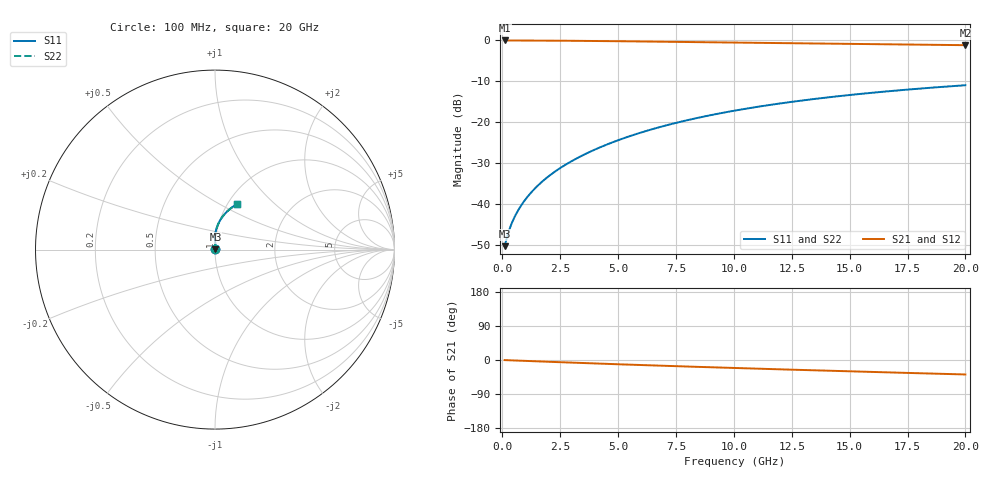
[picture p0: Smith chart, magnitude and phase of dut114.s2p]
! Touchstone file exported from HFSS 2024.1.0
!  File:  C:/UserFiles/LocalFiles/RDL_TSV_Batchsim/temp_RDL_bottom_114_1778695820.aedt
!  Generated:  02:12:34 AM May 14, 2026
!  Design:  RDL_bottom
!  Project:  temp_RDL_bottom_114_1778695820
!  Setup:  Setup1
!  Solution:  Sweep
! Variables:
!  dtsv = 10.80580581um
!  hbump = 3um
!  htsv = 86.73um
!  ldown = 575.56um
!  lrdl = 100um
!  p = 40
!  p1 = 47.87um
!  rhole = 1um
!  t = 450um
!  tdown = 2.98um
!  trdl = 3.915915916um
!  wdown = 28.14um
!  wrdl = 20um
# GHz S MA R 50.000000
! Terminal data exported
! Port[1] = RDL1_T1
! Port[2] = RDL1_T2
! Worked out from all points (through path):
!   200 points, 100 MHz to 20 GHz, reference 50 ohm
!   highest |S21| = -0.02 dB at 100 MHz (marker M1); lowest = -1.2 dB at 20 GHz (marker M2)
!   group delay of S21, straight-line fit = 5.23 ps
!   lowest |S11| = -50.4 dB at 100 MHz (marker M3), VSWR 1.01, Z = 50.3 + j0.133 ohm
!   |S11| at or under -10 dB: start of sweep to end of sweep
!   |S22| runs from -50.4 to -11.0 dB; largest |S21 - S12| = 2.6e-15
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0.1  0.003028 25.9  0.9973 -0.3  0.9973 -0.3  0.003028 25.9
! Gamma 0 0 0 0
! Port Impedance 50 0 50 0
0.2  0.003856 41.4  0.9971 -0.5  0.9971 -0.5  0.003856 41.4
0.3  0.004784 50.1  0.9968 -0.7  0.9968 -0.7  0.004784 50.1
0.4  0.005707 55.8  0.9966 -1.0  0.9966 -1.0  0.005707 55.8
0.5  0.006619 60.1  0.9963 -1.2  0.9963 -1.2  0.006619 60.1
0.6  0.007531 63.6  0.9961 -1.4  0.9961 -1.4  0.007531 63.6
0.8  0.009388 69.0  0.9957 -1.9  0.9957 -1.9  0.009388 69.0
1.2  0.01328 76.1  0.9949 -2.8  0.9949 -2.8  0.01328 76.0
1.7  0.01845 81.3  0.9935 -4.0  0.9935 -4.0  0.01845 81.3
2.2  0.02393 84.6  0.9917 -5.1  0.9917 -5.1  0.02392 84.6
2.8  0.03089 87.2  0.9891 -6.5  0.9891 -6.5  0.03088 87.1
3.5  0.03955 89.0  0.9854 -8.0  0.9854 -8.0  0.03954 88.9
4.2  0.04877 89.9  0.9813 -9.6  0.9813 -9.6  0.04874 89.8
5  0.05992 90.2  0.9761 -11.3  0.9761 -11.3  0.05987 90.1
5.9  0.07311 89.8  0.9699 -13.1  0.9699 -13.1  0.07304 89.7
6.8  0.08683 89.0  0.9634 -14.9  0.9634 -14.9  0.08673 88.9
8.4  0.112 86.6  0.9518 -18.0  0.9518 -18.0  0.1119 86.5
10.1  0.1391 83.5  0.9395 -21.2  0.9395 -21.2  0.1389 83.4
11.7  0.1644 80.3  0.9282 -24.1  0.9282 -24.1  0.1642 80.2
13.4  0.1906 76.9  0.9164 -27.1  0.9164 -27.1  0.1903 76.8
16.7  0.2387 70.3  0.8944 -32.7  0.8944 -32.7  0.2383 70.1
20  0.2824 64.0  0.8732 -38.2  0.8732 -38.2  0.2819 63.9
